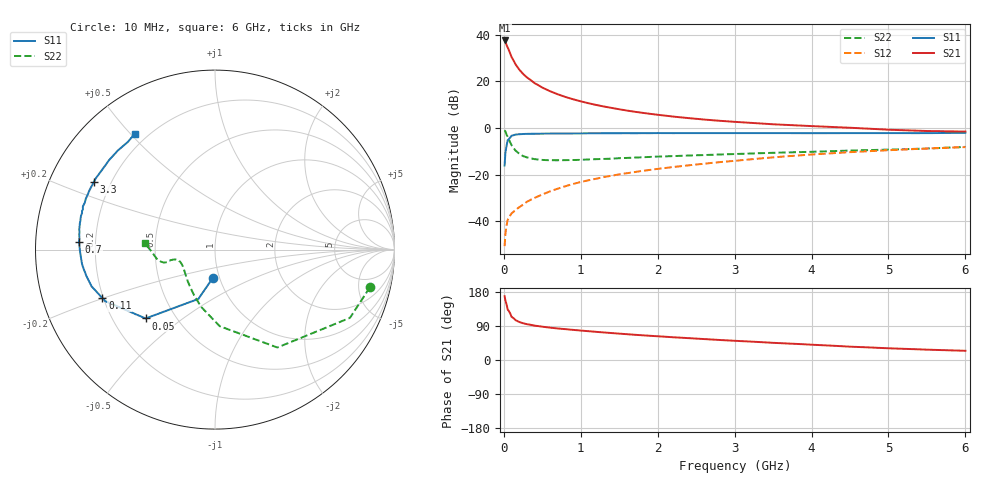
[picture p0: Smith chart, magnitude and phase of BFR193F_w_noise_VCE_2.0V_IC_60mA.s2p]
! Infineon Technologies  Discrete & RF Semiconductors
! BFR193F
! VCE =  2.0 V,  IC =  60 mA
! Common Emitter S-Parameters:  Jan 2017
# GHz  S  MA  R  50
!  f  S11  S21  S12  S22
! GHz  MAG  ANG  MAG  ANG  MAG  ANG  MAG  ANG
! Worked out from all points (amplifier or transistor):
!   77 points, 10 MHz to 6 GHz, reference 50 ohm
!   highest |S21| = 37.5 dB at 10 MHz (marker M1)
!   |S21| within 3 dB of that: start of sweep to 49.73 MHz
!   unconditionally stable (mu >= 1): 588.8 MHz to 2.676 GHz
!   at 130 MHz: K = 0.59, MSG = 32.3 dB, |S12| = -35.9 dB
!   at 2.2 GHz: K = 1.02, MAG = 9.9 dB, |S12| = -16.8 dB
!   at 6 GHz: K = 0.89, MSG = 3.3 dB, |S12| = -8.2 dB
!   lowest NFmin = 1.64 dB at 450 MHz
!   S11 on the Smith chart (normalised r, x): 10 MHz: 0.93, -0.30; 50 MHz: 0.34, -0.37; 110 MHz: 0.20, -0.20; 700 MHz: 0.14, +0.03; 3.3 GHz: 0.14, +0.26; 6 GHz: 0.15, +0.51
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0.01  0.1562 -94.0  75.13 168.4  0.0029 82.0  0.8881 -13.7
0.02  0.29 -108.6  70.66 157.0  0.0052 71.1  0.8428 -26.8
0.05  0.5444 -135.2  53.07 133.1  0.0106 59.0  0.6467 -57.5
0.1  0.676 -154.9  33.14 114.0  0.0146 53.2  0.4274 -86.5
0.11  0.683 -156.7  31.14 112.7  0.0151 53.2  0.4051 -89.2
0.15  0.7173 -163.4  23.35 105.5  0.0171 53.0  0.3283 -103.6
0.2  0.7308 -168.2  17.85 100.3  0.0199 56.4  0.2792 -114.8
0.25  0.7394 -171.6  14.4 97.0  0.0225 59.3  0.2485 -124.2
0.3  0.7451 -173.7  12.09 94.5  0.026 62.8  0.2328 -130.7
0.4  0.7488 -177.1  9.115 90.6  0.0315 65.9  0.2135 -140.8
0.5  0.7526 -179.5  7.328 87.9  0.0372 68.3  0.2054 -147.1
0.6  0.7553 178.5  6.133 85.4  0.0435 70.4  0.2022 -152.0
0.7  0.7589 176.6  5.269 83.2  0.0496 71.5  0.2019 -155.1
0.9  0.7606 173.7  4.115 79.5  0.0626 73.3  0.2045 -160.0
1.1  0.7649 171.3  3.381 76.0  0.0752 73.9  0.2106 -162.4
1.5  0.769 166.8  2.509 69.6  0.1007 74.5  0.2238 -165.5
2.1  0.7727 161.1  1.83 61.4  0.1382 73.6  0.2451 -166.5
3.1  0.7729 152.5  1.317 49.7  0.2036 70.8  0.2783 -165.4
3.3  0.773 150.8  1.255 47.6  0.2183 70.0  0.2852 -165.5
4.1  0.7702 143.5  1.075 39.4  0.2748 65.8  0.3106 -167.8
5.1  0.7723 133.3  0.902 30.2  0.3377 59.3  0.3458 -176.2
6  0.7854 124.7  0.834 24.3  0.3873 53.5  0.3913 175.0
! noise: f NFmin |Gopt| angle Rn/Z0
0.45  1.64  0.49  -178  0.08
0.9  1.73  0.5  -177  0.09
1.9  2.33  0.61  -162  0.1
2.4  2.66  0.62  -155  0.17
